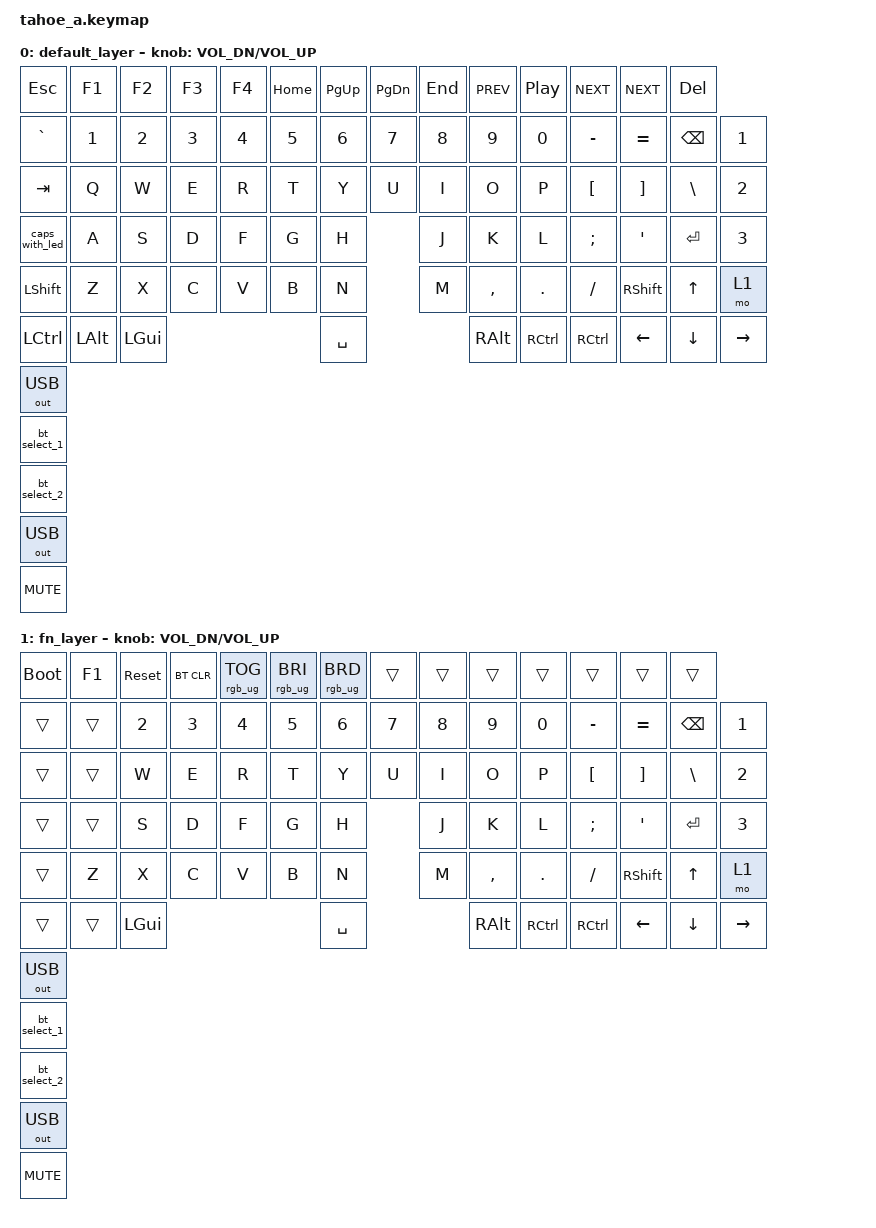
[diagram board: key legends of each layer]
/*
 * Copyright (c) 2022 The ZMK Contributors
 *
 * SPDX-License-Identifier: MIT
 */

#include <behaviors.dtsi>
#include <dt-bindings/zmk/keys.h>
#include <dt-bindings/zmk/bt.h>
#include <dt-bindings/zmk/outputs.h>
#include <dt-bindings/zmk/rgb.h>

/ {
	keymap {
		compatible = "zmk,keymap";

		default_layer {

			bindings = <
    &kp ESC      &kp F1       &kp F2    &kp F3    &kp F4       &kp HOME       &kp PG_UP    &kp PG_DN      &kp END      &kp C_PREV  &kp C_PP   &kp C_NEXT      &kp C_NEXT      &kp DEL
    &kp GRAVE    &kp N1       &kp N2    &kp N3    &kp N4       &kp N5         &kp N6       &kp N7         &kp N8       &kp N9      &kp N0     &kp MINUS       &kp EQUAL       &kp BSPC        &kp N1
    &kp TAB      &kp Q        &kp W     &kp E     &kp R        &kp T          &kp Y        &kp U          &kp I        &kp O       &kp P      &kp LBKT        &kp RBKT        &kp BSLH        &kp N2
    &caps_with_led     &kp A        &kp S     &kp D     &kp F        &kp G          &kp H        &kp J          &kp K        &kp L       &kp SEMI   &kp SQT                         &kp ENTER       &kp N3
    &kp LSHFT                 &kp Z     &kp X     &kp C        &kp V          &kp B        &kp N          &kp M        &kp COMMA   &kp DOT    &kp FSLH        &kp RSHFT        &kp UP          &mo 1
    &kp LCTRL    &kp LALT     &kp LGUI                                        &kp SPACE                                &kp RALT    &kp RCTRL  &kp RCTRL       &kp LEFT        &kp DOWN        &kp RIGHT
    // this position (far left when looking at the keyboard) physically turns off
    // the keyboard, so we'll only get this keypress if the keyboard is plugged
    // into external power/an external USB cable.
    &out OUT_USB
    &bt_select_1
    &bt_select_2
    &out OUT_USB
    &kp C_MUTE
			>;

			sensor-bindings = <&inc_dec_kp C_VOL_DN C_VOL_UP>;
		};

		fn_layer {

			bindings = <
    &bootloader  &kp F1       &sys_reset &bt BT_CLR &rgb_ug RGB_TOG &rgb_ug RGB_BRI       &rgb_ug RGB_BRD    &trans      &trans      &trans     &trans   &trans      &trans      &trans
    &trans       &trans       &kp N2     &kp N3     &kp N4          &kp N5       &kp N6    &kp N7      &kp N8      &kp N9     &kp N0   &kp MINUS   &kp EQUAL   &kp BSPC        &kp N1
    &trans       &trans       &kp W      &kp E      &kp R           &kp T        &kp Y     &kp U       &kp I       &kp O      &kp P    &kp LBKT    &kp RBKT    &kp BSLH        &kp N2
    &trans       &trans       &kp S      &kp D      &kp F           &kp G        &kp H     &kp J       &kp K       &kp L      &kp SEMI &kp SQT                 &kp ENTER       &kp N3
    &trans                    &kp Z      &kp X      &kp C           &kp V        &kp B     &kp N       &kp M       &kp COMMA  &kp DOT  &kp FSLH    &kp RSHFT   &kp UP          &mo 1
    &trans       &trans       &kp LGUI                                           &kp SPACE                         &kp RALT    &kp RCTRL  &kp RCTRL       &kp LEFT        &kp DOWN        &kp RIGHT
    &out OUT_USB
    &bt_select_1
    &bt_select_2
    &out OUT_USB
    &kp C_MUTE
			>;

			sensor-bindings = <&inc_dec_kp C_VOL_DN C_VOL_UP>;
		};

	};
};
